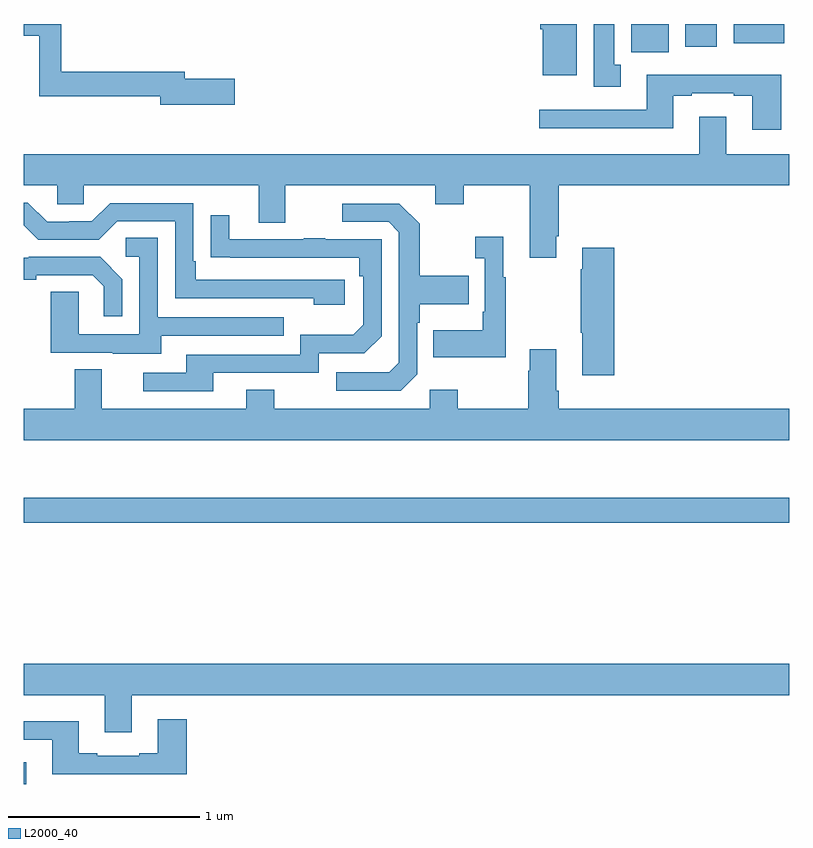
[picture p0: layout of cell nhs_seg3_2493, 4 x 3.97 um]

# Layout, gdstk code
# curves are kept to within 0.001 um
import gdstk
lib = gdstk.Library(unit=1e-6, precision=1e-09)
def R(c, l, rs):  # rectangles x0, y0, x1, y1
    for r in rs: c.add(gdstk.rectangle(r[:2], r[2:], *l))
def P(c, l, *ps):  # polygons
    for p in ps: c.add(gdstk.Polygon(p, *l))
L2000_40 = (2000, 40)

nhs_seg3_2493 = lib.new_cell('nhs_seg3_2493')
R(nhs_seg3_2493, L2000_40, [(239,724.427,239.011,724.54), (239,725.794,243,725.923), (242.174,728.252,242.371,728.4), (242.456,728.28,242.623,728.4), (242.711,728.3,242.975,728.4)])
P(nhs_seg3_2493, L2000_40, [(240.103,728.114),(239.842,728.114),(239.842,728.15),(239.195,728.15),(239.195,728.4),(239,728.4),(239,728.339),(239.079,728.339),(239.079,728.022),(239.714,728.022),(239.714,727.979),(240.103,727.979)],
  [(242.119,728.186),(242.086,728.186),(242.086,728.4),(241.979,728.4),(241.979,728.073),(242.119,728.073)],
  [(241.891,728.4),(241.7,728.4),(241.7,728.372),(241.712,728.372),(241.712,728.132),(241.891,728.132)],
  [(242.96,728.134),(242.255,728.134),(242.255,727.953),(241.695,727.953),(241.695,727.856),(242.395,727.856),(242.395,728.025),(242.491,728.025),(242.491,728.037),(242.711,728.037),(242.711,728.025),(242.807,728.025),(242.807,727.848),(242.96,727.848)],
  [(241.783,727.291),(241.796,727.291),(241.796,727.556),(243,727.556),(243,727.72),(242.671,727.72),(242.671,727.915),(242.531,727.915),(242.531,727.72),(239,727.72),(239,727.556),(239.175,727.556),(239.175,727.458),(239.313,727.458),(239.313,727.556),(240.227,727.556),(240.227,727.362),(240.367,727.362),(240.367,727.556),(241.151,727.556),(241.151,727.457),(241.299,727.457),(241.299,727.556),(241.643,727.556),(241.643,727.179),(241.783,727.179)],
  [(240.676,727.062),(239.899,727.062),(239.899,727.159),(239.886,727.159),(239.886,727.464),(239.451,727.464),(239.355,727.368),(239.237,727.368),(239.237,727.365),(239.121,727.365),(239.021,727.465),(239,727.465),(239,727.348),(239.076,727.272),(239.391,727.272),(239.487,727.368),(239.79,727.368),(239.79,726.966),(240.515,726.966),(240.515,726.932),(240.676,726.932)],
  [(241.056,726.57),(241.056,726.839),(241.069,726.839),(241.069,726.935),(241.325,726.935),(241.325,727.083),(241.069,727.083),(241.069,727.355),(240.963,727.461),(240.663,727.461),(240.663,727.365),(240.906,727.365),(240.96,727.311),(240.96,726.63),(240.909,726.579),(240.633,726.579),(240.633,726.483),(240.969,726.483)],
  [(239.989,726.576),(240.54,726.576),(240.54,726.678),(240.78,726.678),(240.87,726.768),(240.87,727.275),(240.575,727.275),(240.575,727.28),(240.463,727.28),(240.463,727.275),(240.073,727.275),(240.073,727.399),(239.977,727.399),(239.977,727.18),(240.754,727.179),(240.754,727.082),(240.774,727.082),(240.774,726.828),(240.721,726.775),(240.444,726.775),(240.444,726.672),(239.849,726.672),(239.849,726.576),(239.625,726.576),(239.625,726.48),(239.989,726.48)],
  [(241.519,727.075),(241.507,727.075),(241.507,727.288),(241.359,727.288),(241.359,727.175),(241.41,727.175),(241.41,726.895),(241.398,726.895),(241.398,726.799),(241.141,726.799),(241.141,726.659),(241.519,726.659)],
  [(239.719,726.771),(240.359,726.771),(240.359,726.867),(239.7,726.867),(239.7,727.283),(239.532,727.283),(239.532,727.182),(239.604,727.182),(239.604,726.777),(239.286,726.777),(239.286,727.001),(239.141,727.001),(239.141,726.681),(239.465,726.681),(239.465,726.677),(239.719,726.677)],
  [(242.087,727.231),(241.919,727.231),(241.919,727.118),(241.912,727.118),(241.912,726.787),(241.919,726.787),(241.919,726.564),(242.087,726.564)],
  [(239.514,727.066),(239.398,727.182),(239.026,727.182),(239.026,727.179),(239,727.179),(239,727.064),(239.065,727.064),(239.065,727.086),(239.36,727.086),(239.417,727.029),(239.417,726.873),(239.514,726.873)],
  [(243,726.388),(241.796,726.388),(241.796,726.484),(241.783,726.484),(241.783,726.7),(241.643,726.7),(241.643,726.587),(241.636,726.587),(241.636,726.388),(241.269,726.388),(241.269,726.487),(241.122,726.487),(241.122,726.388),(240.309,726.388),(240.309,726.487),(240.161,726.487),(240.161,726.388),(239.407,726.388),(239.407,726.596),(239.267,726.596),(239.267,726.388),(239,726.388),(239,726.224),(243,726.224)],
  [(239.563,724.892),(243,724.892),(243,725.056),(239,725.056),(239,724.892),(239.423,724.892),(239.423,724.698),(239.563,724.698)],
  [(239.852,724.765),(239.699,724.765),(239.699,724.588),(239.603,724.588),(239.603,724.575),(239.383,724.575),(239.383,724.588),(239.287,724.588),(239.287,724.756),(239,724.756),(239,724.659),(239.147,724.659),(239.147,724.478),(239.852,724.478)])

lib.write_gds('nhs_seg3_2493.gds')
